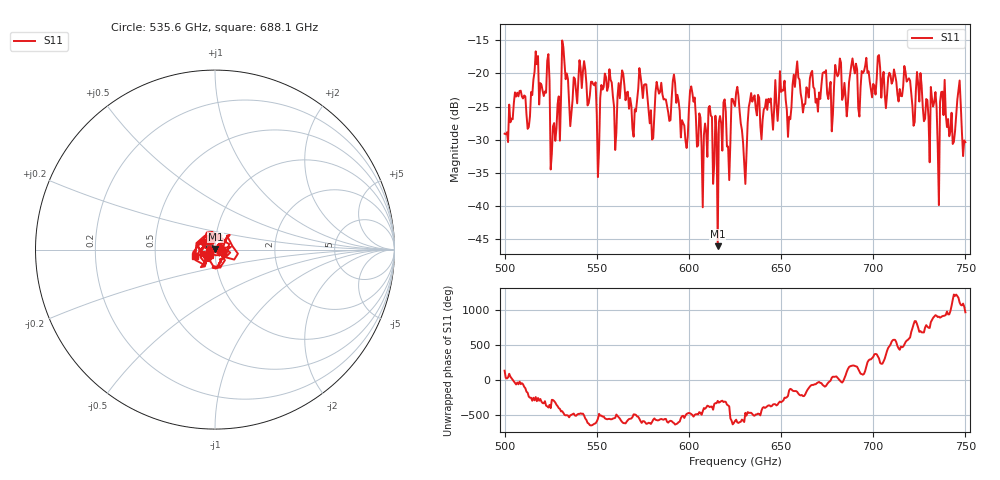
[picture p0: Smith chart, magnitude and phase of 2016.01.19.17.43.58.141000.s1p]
!Created with skrf (http://scikit-rf.org).
# GHz S RI R 50.0
!freq ReS11 ImS11
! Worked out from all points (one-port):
!   401 points, 500 GHz to 750 GHz, reference 50 ohm
!   lowest |S11| = -46.0 dB at 615.6 GHz (marker M1), VSWR 1.01, Z = 50.3 + j0.425 ohm
!   |S11| at or under -10 dB: start of sweep to end of sweep
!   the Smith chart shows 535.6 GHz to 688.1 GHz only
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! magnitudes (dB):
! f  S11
! 500 GHz  -29.1
! 506.9 GHz  -22.9
! 513.1 GHz  -28.1
! 516.9 GHz  -16.7
! 523.1 GHz  -18.1
! 526.2 GHz  -28.0
! 531.2 GHz  -15.0
! 548.1 GHz  -21.7
! 551.2 GHz  -31.4
! 553.8 GHz  -22.1
! 560 GHz  -31.5
! 562.5 GHz  -23.7
! 570 GHz  -29.5
! 574.4 GHz  -21.8
! 580 GHz  -30.0
! 583.8 GHz  -23.0
! 593.8 GHz  -23.2
! 615.6 GHz  -46.0
! 621.9 GHz  -36.1
! 625 GHz  -24.9
! 630 GHz  -33.7
! 634.4 GHz  -24.3
! 656.2 GHz  -21.7
! 687.5 GHz  -20.1
! 718.8 GHz  -21.0
! 734.4 GHz  -25.1
! 746.2 GHz  -22.5
! 750 GHz  -30.4
